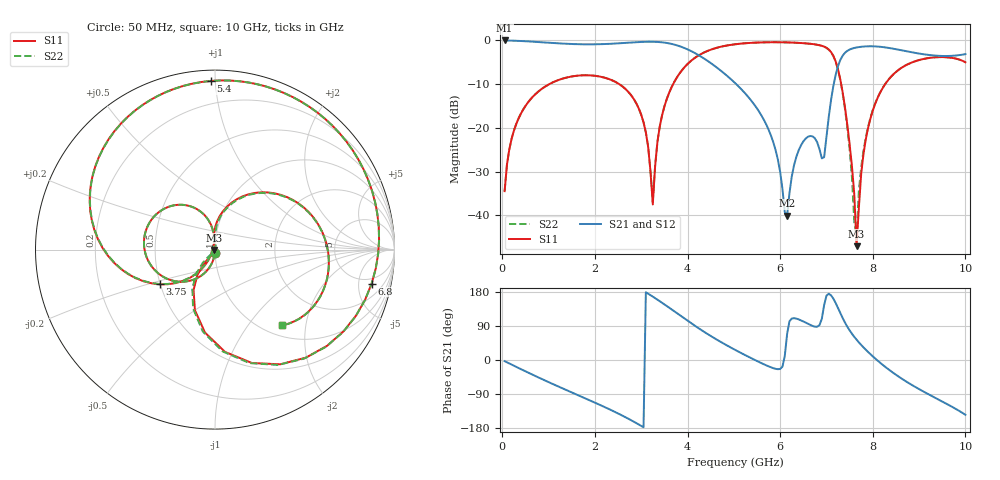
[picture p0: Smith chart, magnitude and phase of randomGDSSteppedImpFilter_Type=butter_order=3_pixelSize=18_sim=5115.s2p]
! freq	dB(S11)	phase(S11)	dB(S12)	phase(S12)
!  dB(S21)	phase(S21)	dB(S22)	phase(S22)
!S-par simulation data
#  GHz  S  DB  R 50
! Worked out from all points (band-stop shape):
!   200 points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, 50 MHz to 10 GHz, reference 50 ohm
!   highest |S21| = 0.00 dB at 50 MHz (marker M1); lowest = -40.1 dB at 6.15 GHz (marker M2)
!   |S21| within 3 dB of the highest: start of sweep to 4.179 GHz; 7.386 GHz to 8.999 GHz (1.613 GHz wide, 19.7 % of centre)
!   lowest |S11| = -47.1 dB at 7.65 GHz (marker M3), VSWR 1.01, Z = 49.6 - j0.236 ohm
!   |S11| at or under -10 dB: start of sweep to 1.015 GHz; 2.524 GHz to 3.689 GHz (1.165 GHz wide, 37.5 % of centre); 7.318 GHz to 8.268 GHz (950.5 MHz wide, 12.2 % of centre)
!   |S22| runs from -45.1 to -0.4 dB; largest |S21 - S12| = 0
!   S11 on the Smith chart (normalised r, x): 50 MHz: 1.00, -0.04; 3.75 GHz: 0.50, -0.22; 5.4 GHz: 0.06, +0.97; 6.8 GHz: 3.90, -7.29; 10 GHz: 1.19, -1.47
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0.05  -34.49 -92.9  -0.00 -3.1  -0.00 -3.1  -34.49 -92.9
0.5  -14.99 -120.3  -0.18 -29.9  -0.18 -29.9  -14.99 -120.4
1.75  -7.97 170.7  -0.89 -98.9  -0.89 -98.9  -7.97 170.7
2.9  -14.52 105.0  -0.40 -166.9  -0.40 -166.9  -14.52 105.2
3.25  -37.53 176.0  -0.30 167.3  -0.30 167.3  -36.93 174.9
3.4  -19.70 -122.6  -0.38 155.2  -0.38 155.2  -19.69 -123.4
3.75  -8.82 -147.7  -1.05 125.3  -1.05 125.3  -8.82 -148.0
4.4  -2.54 159.3  -4.44 71.0  -4.44 71.0  -2.54 159.1
5.05  -0.85 113.8  -9.98 25.2  -9.98 25.2  -0.85 113.5
5.4  -0.54 91.5  -14.09 3.3  -14.09 3.3  -0.54 91.2
6.15  -0.45 43.0  -40.09 68.4  -40.09 68.4  -0.45 42.7
6.35  -0.53 28.6  -26.61 109.2  -26.61 109.2  -0.53 28.2
6.7  -0.82 -1.4  -21.95 89.9  -21.95 89.9  -0.83 -1.9
6.8  -0.98 -12.2  -23.31 87.8  -23.31 87.8  -0.99 -12.7
6.95  -1.42 -32.3  -26.71 145.1  -26.71 145.1  -1.43 -33.0
7.3  -8.98 -108.3  -4.45 123.6  -4.45 123.6  -9.11 -110.4
7.55  -28.78 -121.6  -1.88 69.3  -1.88 69.3  -31.28 -128.3
7.65  -47.07 -147.5  -1.61 53.6  -1.61 53.6  -45.12 62.0
7.85  -22.58 94.2  -1.36 27.0  -1.36 27.0  -22.16 89.4
8.35  -8.84 58.6  -1.72 -25.7  -1.72 -25.7  -8.82 57.7
9.2  -4.04 -0.1  -3.31 -90.2  -3.31 -90.2  -4.03 -0.5
10  -5.00 -48.6  -3.13 -144.6  -3.13 -144.6  -4.99 -48.7
